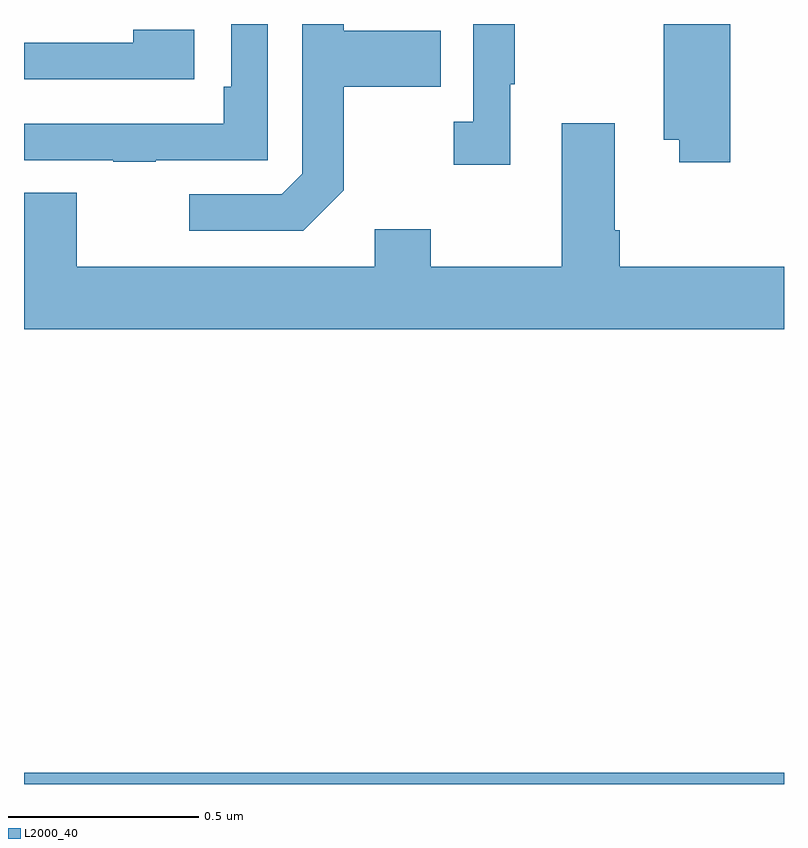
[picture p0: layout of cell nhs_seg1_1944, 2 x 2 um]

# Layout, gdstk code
import gdstk
lib = gdstk.Library(unit=1e-6, precision=1e-09)
def R(c, l, rs):  # rectangles x0, y0, x1, y1
    for r in rs: c.add(gdstk.rectangle(r[:2], r[2:], *l))
def P(c, l, *ps):  # polygons
    for p in ps: c.add(gdstk.Polygon(p, *l))
L2000_40 = (2000, 40)

nhs_seg1_1944 = lib.new_cell('nhs_seg1_1944')
R(nhs_seg1_1944, L2000_40, [(135,553.199,137,553.228)])
P(nhs_seg1_1944, L2000_40, [(135.841,554.761),(135.841,555.034),(136.097,555.034),(136.097,555.181),(135.841,555.181),(135.841,555.199),(135.732,555.199),(135.732,554.805),(135.678,554.751),(135.435,554.751),(135.435,554.655),(135.735,554.655)],
  [(136.279,555.041),(136.291,555.041),(136.291,555.199),(136.182,555.199),(136.182,554.942),(136.131,554.942),(136.131,554.829),(136.279,554.829)],
  [(135.347,554.841),(135.642,554.841),(135.642,555.199),(135.546,555.199),(135.546,555.034),(135.526,555.034),(135.526,554.937),(135,554.937),(135,554.841),(135.235,554.841),(135.235,554.836),(135.347,554.836)],
  [(136.859,555.199),(136.684,555.199),(136.684,554.894),(136.724,554.894),(136.724,554.835),(136.859,554.835)],
  [(135.448,555.184),(135.287,555.184),(135.287,555.15),(135,555.15),(135,555.054),(135.448,555.054)],
  [(135,554.755),(135,554.396),(137,554.396),(137,554.56),(136.568,554.56),(136.568,554.656),(136.555,554.656),(136.555,554.938),(136.415,554.938),(136.415,554.56),(136.071,554.56),(136.071,554.659),(135.923,554.659),(135.923,554.56),(135.139,554.56),(135.139,554.755)])

lib.write_gds('nhs_seg1_1944.gds')
